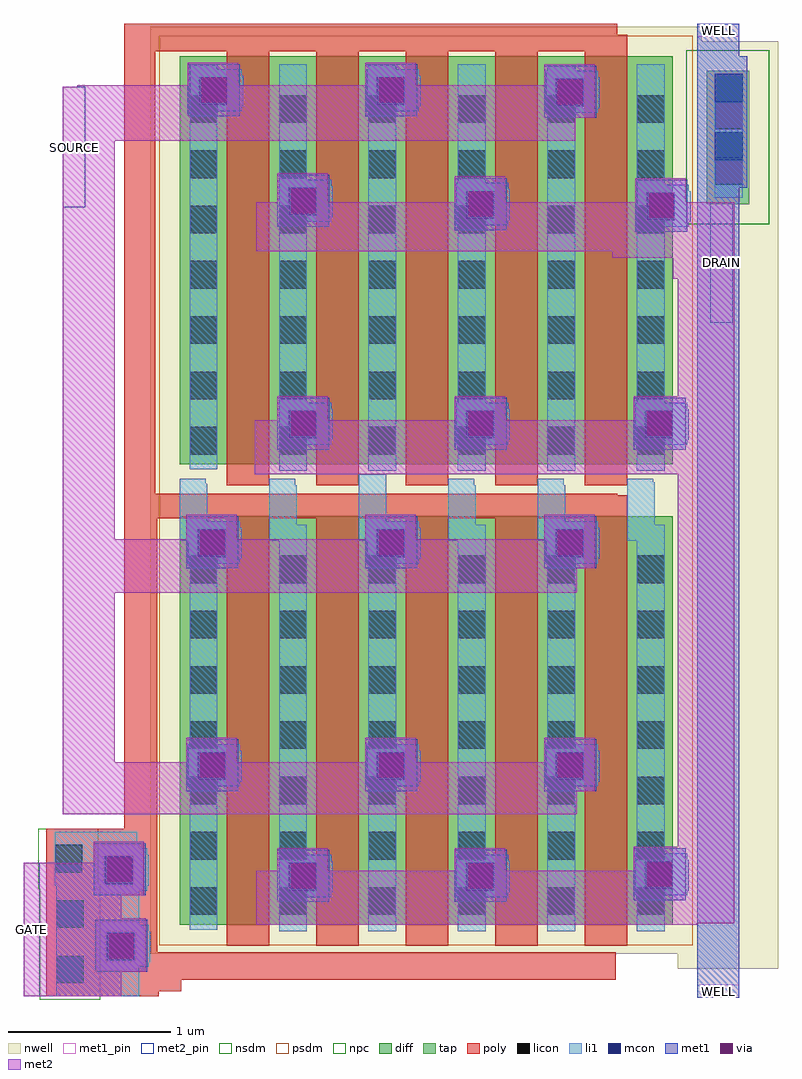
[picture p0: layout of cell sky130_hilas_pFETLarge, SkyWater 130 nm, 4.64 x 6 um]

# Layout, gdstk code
import gdstk
lib = gdstk.Library(unit=1e-6, precision=1e-09)
def R(c, l, rs):  # rectangles x0, y0, x1, y1
    for r in rs: c.add(gdstk.rectangle(r[:2], r[2:], *l))
def A(c, l, x, y, w, h, nx, ny, dx, dy):  # array of equal rectangles
    R(c, l, [(x+i*dx, y+j*dy, x+i*dx+w, y+j*dy+h) for i in range(nx) for j in range(ny)])
nwell = (64, 20)
diff = (65, 20)
tap = (65, 44)
poly = (66, 20)
licon = (66, 44)
li1 = (67, 20)
mcon = (67, 44)
met1_pin = (68, 16)
met1 = (68, 20)
via = (68, 44)
met2_pin = (69, 16)
met2 = (69, 20)
nsdm = (93, 44)
psdm = (94, 20)
npc = (95, 20)

sky130_hilas_pfetmed = lib.new_cell('sky130_hilas_pFETmed')
R(sky130_hilas_pfetmed, nwell, [(0,0,1.19,2.87)])
R(sky130_hilas_pfetmed, diff, [(0.18,0.18,1.01,2.69)])
R(sky130_hilas_pfetmed, poly, [(0.47,0.05,0.73,2.82)])
A(sky130_hilas_pfetmed, licon, 0.24, 0.24, 0.17, 0.17, 1, 7, 0, 0.34)
A(sky130_hilas_pfetmed, licon, 0.79, 0.24, 0.17, 0.17, 1, 7, 0, 0.34)
R(sky130_hilas_pfetmed, li1, [(0.79,0.14,0.96,2.64), (0.24,0.15,0.41,2.64)])
R(sky130_hilas_pfetmed, psdm, [(0.055,0.055,1.135,2.815)])

sky130_hilas_pfetlargepa = lib.new_cell('sky130_hilas_pFETLargePart1')
sky130_hilas_pfetlargepa.add(gdstk.Reference(sky130_hilas_pfetmed, (1.65,0)))
sky130_hilas_pfetlargepa.add(gdstk.Reference(sky130_hilas_pfetmed, (1.1,0)))
sky130_hilas_pfetlargepa.add(gdstk.Reference(sky130_hilas_pfetmed, (0.55,0)))
sky130_hilas_pfetlargepa.add(gdstk.Reference(sky130_hilas_pfetmed, (0,0)))
sky130_hilas_pfetlargepa.add(gdstk.Reference(sky130_hilas_pfetmed, (2.2,0)))

sky130_hilas_li2m2 = lib.new_cell('sky130_hilas_li2m2')
R(sky130_hilas_li2m2, li1, [(0.01,0.03,0.33,0.06), (0.01,0.06,0.34,0.25), (0.01,0.25,0.33,0.29)])
R(sky130_hilas_li2m2, mcon, [(0.07,0.07,0.24,0.24)])
R(sky130_hilas_li2m2, met1, [(0,0,0.32,0.32)])
R(sky130_hilas_li2m2, via, [(0.085,0.085,0.235,0.235)])
R(sky130_hilas_li2m2, met2, [(0,0,0.31,0.33)])

sky130_hilas_pfetlarge = lib.new_cell('sky130_hilas_pFETLarge')
R(sky130_hilas_pfetlarge, nwell, [(4.02,0.18,4.64,5.88), (0.81,3.06,1.57,3.09), (3.64,3.06,3.65,3.1), (0.81,3.09,1.49,3.1)])
R(sky130_hilas_pfetlarge, tap, [(4.2,4.88,4.46,5.7)])
R(sky130_hilas_pfetlarge, poly, [(0.14,0.01,0.83,0.04), (0.14,0.04,0.97,0.11), (0.14,0.11,3.64,0.28), (0.14,0.28,0.82,1.04), (0.62,1.04,0.82,2.95), (0.62,2.95,3.65,3.1), (0.62,3.1,0.81,5.82), (0.62,5.82,3.65,5.99)])
R(sky130_hilas_pfetlarge, licon, [(0.2,0.09,0.37,0.26), (0.2,0.43,0.37,0.6), (0.19,0.77,0.36,0.94), (4.25,5,4.42,5.17), (4.25,5.34,4.42,5.51)])
A(sky130_hilas_pfetlarge, li1, 0.96, 2.81, 0.16, 0.01, 6, 1, 0.55, 0)
R(sky130_hilas_pfetlarge, li1, [(0.2,0.01,0.71,0.69), (0.19,0.69,0.71,0.94), (0.19,0.94,0.7,1.02), (0.96,2.82,1.13,3.16), (1.51,2.82,1.68,3.15), (2.06,2.82,2.23,3.22), (2.61,2.82,2.78,3.15), (3.16,2.82,3.33,3.15), (3.71,2.82,3.88,3.17), (1.51,3.15,1.67,3.19), (2.61,3.15,2.77,3.19), (3.16,3.15,3.32,3.19), (0.96,3.16,1.12,3.19), (3.71,3.17,3.87,3.19), (4.25,4.92,4.42,5.68)])
R(sky130_hilas_pfetlarge, mcon, [(4.25,5.15,4.42,5.32), (4.25,5.51,4.42,5.68)])
R(sky130_hilas_pfetlarge, met1_pin, [(4.14,0,4.4,0.08), (4.14,5.91,4.4,5.99)])
R(sky130_hilas_pfetlarge, met1, [(4.14,0,4.4,4.98), (4.14,4.98,4.45,5.79), (4.14,5.79,4.4,5.99)])
R(sky130_hilas_pfetlarge, met2_pin, [(0,0.01,0.1,0.83), (4.22,4.15,4.36,4.89), (0.24,4.86,0.38,5.6)])
R(sky130_hilas_pfetlarge, met2, [(0,0.01,0.6,0.83), (1.43,0.45,4.14,0.46), (1.43,0.46,4.37,0.78), (4.02,0.78,4.37,3.22), (0.24,1.13,3.4,1.45), (0.24,1.45,0.56,2.49), (0.24,2.49,3.4,2.82), (0.24,2.82,0.56,5.27), (1.42,3.22,4.37,3.55), (4.02,3.55,4.37,4.42), (3.99,4.42,4.37,4.55), (3.62,4.55,4.37,4.59), (1.43,4.59,4.37,4.89), (0.24,5.27,3.39,5.6), (0.33,5.6,3.39,5.61)])
R(sky130_hilas_pfetlarge, nsdm, [(4.075,4.755,4.585,5.825)])
R(sky130_hilas_pfetlarge, psdm, [(0.835,3.085,4.115,3.155)])
R(sky130_hilas_pfetlarge, npc, [(0.1,-0.01,0.47,0.67), (0.09,0.67,0.47,0.7), (0.09,0.7,0.46,1.04)])
sky130_hilas_pfetlarge.add(gdstk.Reference(sky130_hilas_pfetlargepa, (0.78,3.1)))
sky130_hilas_pfetlarge.add(gdstk.Reference(sky130_hilas_pfetlargepa, (0.78,0.27)))
sky130_hilas_pfetlarge.add(gdstk.Reference(sky130_hilas_li2m2, (3.76,4.71)))
sky130_hilas_pfetlarge.add(gdstk.Reference(sky130_hilas_li2m2, (2.65,4.72)))
sky130_hilas_pfetlarge.add(gdstk.Reference(sky130_hilas_li2m2, (1.56,4.74)))
sky130_hilas_pfetlarge.add(gdstk.Reference(sky130_hilas_li2m2, (1.01,5.42)))
sky130_hilas_pfetlarge.add(gdstk.Reference(sky130_hilas_li2m2, (3.2,5.41)))
sky130_hilas_pfetlarge.add(gdstk.Reference(sky130_hilas_li2m2, (2.1,5.42)))
sky130_hilas_pfetlarge.add(gdstk.Reference(sky130_hilas_li2m2, (3.75,3.37)))
sky130_hilas_pfetlarge.add(gdstk.Reference(sky130_hilas_li2m2, (1.56,3.37)))
sky130_hilas_pfetlarge.add(gdstk.Reference(sky130_hilas_li2m2, (2.65,3.37)))
sky130_hilas_pfetlarge.add(gdstk.Reference(sky130_hilas_li2m2, (1,2.64)))
sky130_hilas_pfetlarge.add(gdstk.Reference(sky130_hilas_li2m2, (3.2,2.64)))
sky130_hilas_pfetlarge.add(gdstk.Reference(sky130_hilas_li2m2, (2.1,2.64)))
sky130_hilas_pfetlarge.add(gdstk.Reference(sky130_hilas_li2m2, (0.43,0.63)))
sky130_hilas_pfetlarge.add(gdstk.Reference(sky130_hilas_li2m2, (0.44,0.16)))
sky130_hilas_pfetlarge.add(gdstk.Reference(sky130_hilas_li2m2, (1,1.27)))
sky130_hilas_pfetlarge.add(gdstk.Reference(sky130_hilas_li2m2, (3.75,0.6)))
sky130_hilas_pfetlarge.add(gdstk.Reference(sky130_hilas_li2m2, (2.65,0.59)))
sky130_hilas_pfetlarge.add(gdstk.Reference(sky130_hilas_li2m2, (1.56,0.59)))
sky130_hilas_pfetlarge.add(gdstk.Reference(sky130_hilas_li2m2, (3.2,1.27)))
sky130_hilas_pfetlarge.add(gdstk.Reference(sky130_hilas_li2m2, (2.1,1.27)))
sky130_hilas_pfetlarge.add(gdstk.Label('GATE', (0.05,0.42), layer=69, texttype=16))
sky130_hilas_pfetlarge.add(gdstk.Label('SOURCE', (0.31,5.23), layer=69, texttype=16))
sky130_hilas_pfetlarge.add(gdstk.Label('DRAIN', (4.29,4.52), layer=69, texttype=16))
sky130_hilas_pfetlarge.add(gdstk.Label('WELL', (4.27,5.95), layer=68, texttype=16))
sky130_hilas_pfetlarge.add(gdstk.Label('WELL', (4.27,0.04), layer=68, texttype=16))

lib.write_gds('sky130_hilas_pFETLarge.gds')
